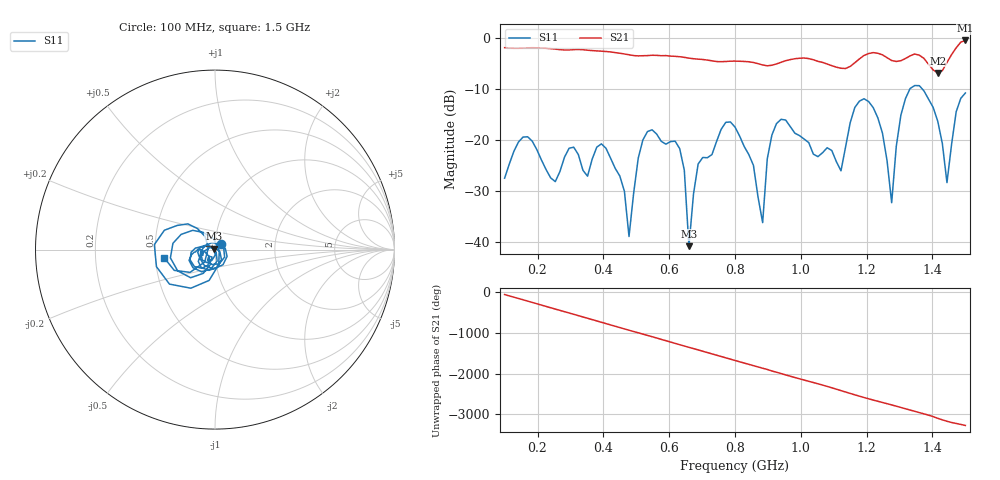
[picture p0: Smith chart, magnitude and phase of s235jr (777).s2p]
! NanoVNA-App
! Date: 2025-09-25 15:10:13
! Start: 100MHz Stop: 1,5GHz Points: 101
! S-Parameter data: F S11 S21 S12 S22
# Hz S RI R 50
!  Frequency  S11_Real  S11_Imag  S21_Real  S21_Imag  S12_Real  S12_Imag  S22_Real  S22_Imag
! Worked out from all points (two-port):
!   101 points, 100 MHz to 1.5 GHz, reference 50 ohm
!   highest |S21| = -0.56 dB at 1.5 GHz (marker M1); lowest = -6.9 dB at 1.416 GHz (marker M2)
!   |S21| within 3 dB of the highest: start of sweep to 502.5 MHz; 512.9 MHz to 596.3 MHz (83.41 MHz wide, 15 % of centre) (the widest 2 of 5)
!   lowest |S11| = -40.8 dB at 660 MHz (marker M3), VSWR 1.02, Z = 49.3 + j0.556 ohm
!   |S11| at or under -10 dB: start of sweep to 1.332 GHz; 1.368 GHz to end of sweep
!   S12 and S22 are empty: the file has one direction only
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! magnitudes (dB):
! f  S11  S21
! 100 MHz  -27.5  -2.0
! 156 MHz  -19.4  -2.1
! 338 MHz  -25.9  -2.4
! 408 MHz  -21.6  -2.7
! 478 MHz  -38.9  -3.4
! 520 MHz  -20.0  -3.5
! 576 MHz  -20.3  -3.5
! 632 MHz  -21.7  -3.7
! 660 MHz  -40.8  -4.0
! 688 MHz  -24.7  -4.2
! 800 MHz  -17.5  -4.6
! 884 MHz  -36.2  -5.3
! 926 MHz  -16.8  -5.1
! 1.038 GHz  -22.8  -4.3
! 1.122 GHz  -26.0  -6.0
! 1.192 GHz  -11.9  -3.5
! 1.248 GHz  -18.7  -3.4
! 1.276 GHz  -32.3  -4.5
! 1.332 GHz  -9.9  -3.6
! 1.416 GHz  -16.3  -6.9
! 1.444 GHz  -28.3  -4.9
! 1.5 GHz  -10.8  -0.6
